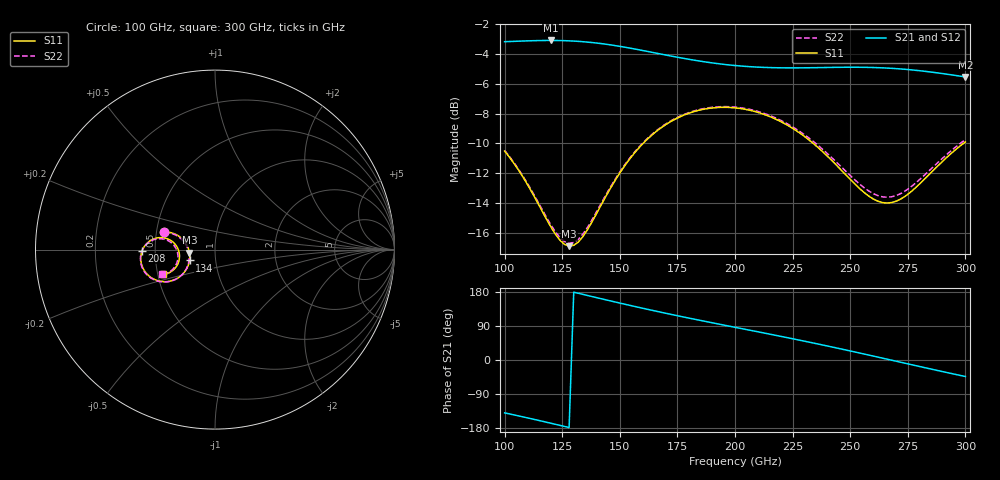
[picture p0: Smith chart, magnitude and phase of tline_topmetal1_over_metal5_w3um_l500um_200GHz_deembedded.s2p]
! Created with skrf 2.2.0 (http://scikit-rf.org).
# GHz S DB R 50.0
! Port[1] = P1
! Port[2] = P2
!freq dBS11 angS11 dBS21 angS21 dBS12 angS12 dBS22 angS22
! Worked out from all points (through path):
!   101 points, 100 GHz to 300 GHz, reference 50 ohm
!   highest |S21| = -3.10 dB at 120 GHz (marker M1); lowest = -5.5 dB at 300 GHz (marker M2)
!   group delay of S21, straight-line fit = 3.61 ps
!   lowest |S11| = -16.9 dB at 128 GHz (marker M3), VSWR 1.33, Z = 37.5 - j1.34 ohm
!   |S11| at or under -10 dB: start of sweep to 160.1 GHz; 234 GHz to 299.1 GHz (65.13 GHz wide, 24.4 % of centre)
!   |S22| runs from -16.7 to -7.5 dB; largest |S21 - S12| = 8.1e-14
!   S11 on the Smith chart (normalised r, x): 100 GHz: 0.55, +0.12; 134 GHz: 0.75, -0.09; 208 GHz: 0.42, -0.01; 300 GHz: 0.53, -0.16
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100  -10.51 160.7  -3.18 -139.5  -3.18 -139.5  -10.46 161.5
110  -12.77 158.9  -3.13 -152.8  -3.13 -152.8  -12.69 159.8
120  -15.57 167.6  -3.10 -166.8  -3.10 -166.8  -15.43 168.5
124  -16.47 176.1  -3.11 -172.5  -3.11 -172.5  -16.30 176.8
128  -16.88 -173.0  -3.13 -178.2  -3.13 -178.2  -16.68 -172.6
134  -16.23 -157.0  -3.18 173.1  -3.18 173.1  -16.06 -156.9
142  -14.09 -145.0  -3.31 161.6  -3.31 161.6  -13.98 -145.1
152  -11.52 -142.7  -3.55 147.5  -3.55 147.5  -11.46 -142.7
160  -10.01 -145.8  -3.78 136.5  -3.78 136.5  -9.96 -145.6
168  -8.94 -150.7  -4.02 125.9  -4.02 125.9  -8.90 -150.4
184  -7.79 -162.2  -4.46 105.6  -4.46 105.6  -7.75 -161.7
200  -7.61 -173.8  -4.78 86.3  -4.78 86.3  -7.56 -173.0
208  -7.83 -179.2  -4.87 76.7  -4.87 76.7  -7.77 -178.3
222  -8.71 172.5  -4.94 59.8  -4.94 59.8  -8.62 173.6
234  -10.00 167.8  -4.92 44.8  -4.92 44.8  -9.87 169.2
252  -12.71 170.8  -4.89 21.2  -4.89 21.2  -12.43 172.2
260  -13.71 178.8  -4.91 10.4  -4.91 10.4  -13.36 179.8
268  -13.95 -170.2  -4.97 -0.5  -4.97 -0.5  -13.57 -170.0
274  -13.52 -162.5  -5.03 -8.8  -5.03 -8.8  -13.17 -162.8
282  -12.43 -155.8  -5.16 -19.7  -5.16 -19.7  -12.15 -156.4
292  -10.92 -153.2  -5.36 -33.1  -5.36 -33.1  -10.72 -153.9
300  -9.90 -154.4  -5.54 -43.6  -5.54 -43.6  -9.74 -154.9
